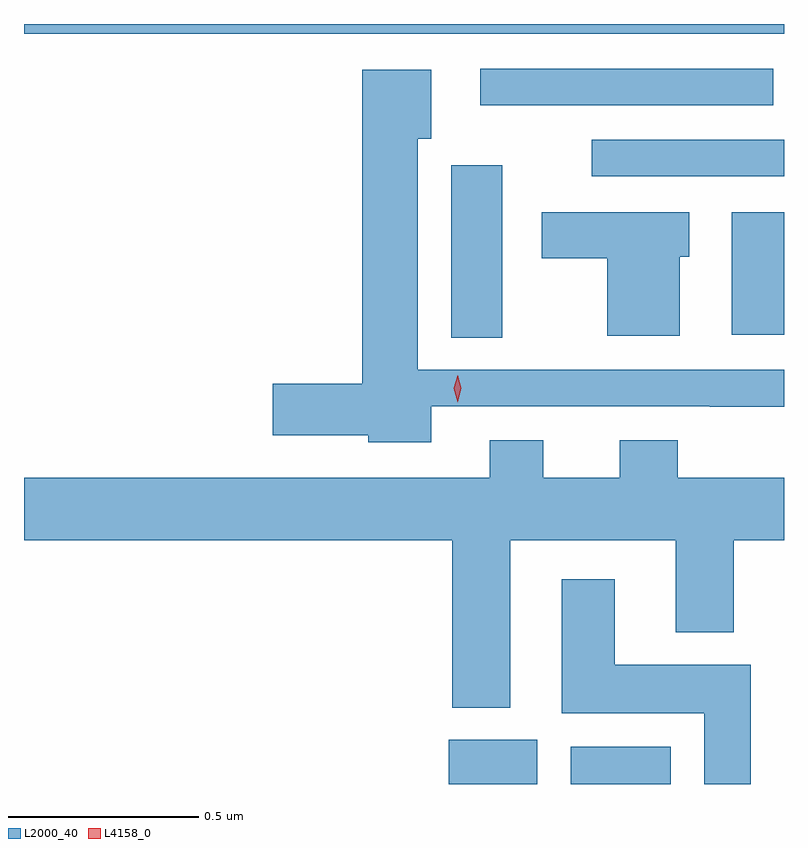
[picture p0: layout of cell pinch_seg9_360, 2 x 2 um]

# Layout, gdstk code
import gdstk
lib = gdstk.Library(unit=1e-6, precision=1e-09)
def R(c, l, rs):  # rectangles x0, y0, x1, y1
    for r in rs: c.add(gdstk.rectangle(r[:2], r[2:], *l))
def P(c, l, *ps):  # polygons
    for p in ps: c.add(gdstk.Polygon(p, *l))
L2000_40 = (2000, 40)
L4158_0 = (4158, 0)

pinch_seg9_360 = lib.new_cell('pinch_seg9_360')
R(pinch_seg9_360, L2000_40, [(558.962,1195.778,559.195,1195.894), (559.283,1195.778,559.546,1195.876), (558.968,1196.953,559.102,1197.406), (559.706,1196.96,559.844,1197.283), (559.338,1197.378,559.844,1197.474), (559.044,1197.564,559.816,1197.66), (557.844,1197.752,559.844,1197.778)])
P(pinch_seg9_360, L2000_40, [(558.916,1196.772),(559.648,1196.772),(559.648,1196.771),(559.844,1196.771),(559.844,1196.868),(558.88,1196.868),(558.88,1197.476),(558.916,1197.476),(558.916,1197.658),(558.734,1197.658),(558.734,1196.831),(558.498,1196.831),(558.498,1196.696),(558.75,1196.696),(558.75,1196.678),(558.916,1196.678)],
  [(559.57,1197.165),(559.594,1197.165),(559.594,1197.283),(559.206,1197.283),(559.206,1197.161),(559.379,1197.161),(559.379,1196.957),(559.57,1196.957)],
  [(559.123,1196.42),(559.559,1196.42),(559.559,1196.177),(559.712,1196.177),(559.712,1196.42),(559.844,1196.42),(559.844,1196.584),(559.565,1196.584),(559.565,1196.683),(559.412,1196.683),(559.412,1196.584),(559.21,1196.584),(559.21,1196.683),(559.07,1196.683),(559.07,1196.584),(557.844,1196.584),(557.844,1196.42),(558.971,1196.42),(558.971,1195.979),(559.123,1195.979)],
  [(559.756,1196.092),(559.399,1196.092),(559.399,1196.317),(559.259,1196.317),(559.259,1195.964),(559.634,1195.964),(559.634,1195.778),(559.756,1195.778)])
P(pinch_seg9_360, L4158_0, [(558.985,1196.783),(558.985,1196.783),(558.975,1196.819),(558.985,1196.854),(558.985,1196.854),(558.985,1196.854),(558.995,1196.819),(558.985,1196.783)])

lib.write_gds('pinch_seg9_360.gds')
